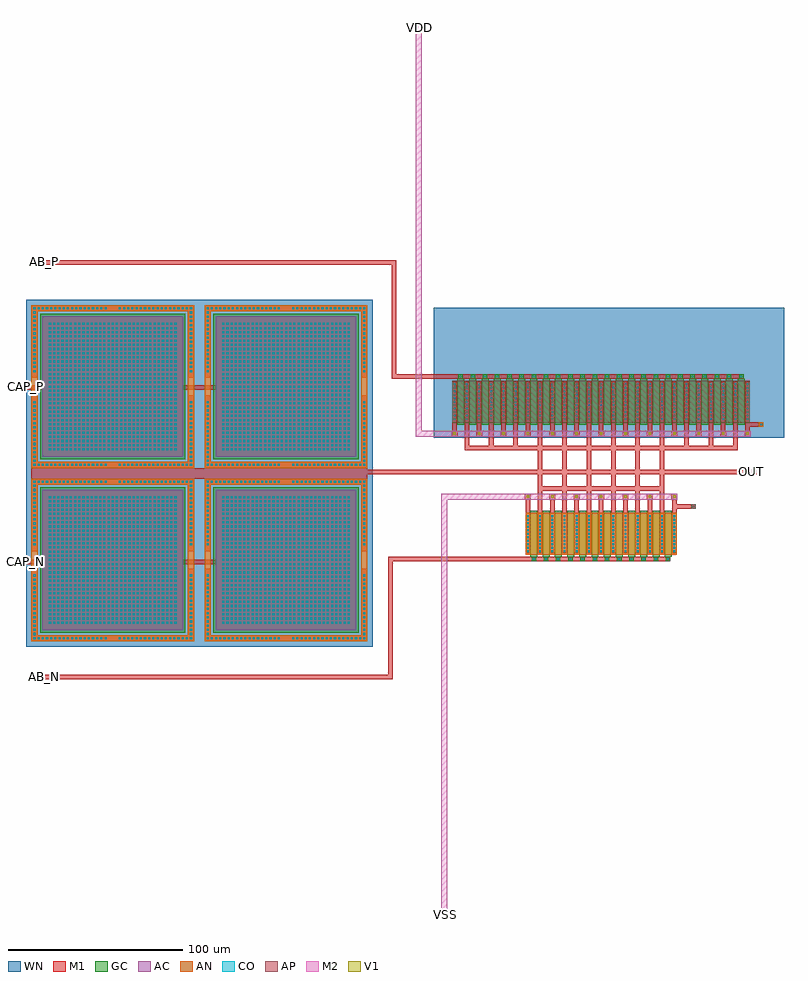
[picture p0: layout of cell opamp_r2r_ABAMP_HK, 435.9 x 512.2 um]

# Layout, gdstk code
from math import pi, radians
import gdstk
lib = gdstk.Library(unit=1e-6, precision=1e-07)
def R(c, l, rs):  # rectangles x0, y0, x1, y1
    for r in rs: c.add(gdstk.rectangle(r[:2], r[2:], *l))
def A(c, l, x, y, w, h, nx, ny, dx, dy):  # array of equal rectangles
    R(c, l, [(x+i*dx, y+j*dy, x+i*dx+w, y+j*dy+h) for i in range(nx) for j in range(ny)])
def P(c, l, *ps):  # polygons
    for p in ps: c.add(gdstk.Polygon(p, *l))
AP = (3, 1)
AN = (3, 2)
AC = (3, 4)
GC = (8, 1)
CO = (11, 0)
M1 = (13, 0)
V1 = (19, 0)
M2 = (20, 0)
WN = (140, 0)

via_1 = lib.new_cell('via_1')
R(via_1, M1, [(-1.7,-1.7,1.7,1.7)])
R(via_1, V1, [(-0.7,-0.7,0.7,0.7)])
R(via_1, M2, [(-1.7,-1.7,1.7,1.7)])

fet_p = lib.new_cell('fet_p')
R(fet_p, AP, [(-85.3,-12,85.3,12)])
A(fet_p, CO, -84.5, -10.5, 1, 1, 25, 11, 7, 2)
A(fet_p, M1, -85.3, -11.3, 2.6, 22.6, 25, 1, 7, 0)
fet_p.add(gdstk.FlexPath([(3.5,-13.2),(3.5,13.2)], 4, ends="flush", simple_path=True, layer=8, datatype=1))  # GC
fet_p.add(gdstk.FlexPath([(-3.5,-13.2),(-3.5,13.2)], 4, ends="flush", simple_path=True, layer=8, datatype=1))  # GC
fet_p.add(gdstk.FlexPath([(10.5,-13.2),(10.5,13.2)], 4, ends="flush", simple_path=True, layer=8, datatype=1))  # GC
fet_p.add(gdstk.FlexPath([(-10.5,-13.2),(-10.5,13.2)], 4, ends="flush", simple_path=True, layer=8, datatype=1))  # GC
fet_p.add(gdstk.FlexPath([(17.5,-13.2),(17.5,13.2)], 4, ends="flush", simple_path=True, layer=8, datatype=1))  # GC
fet_p.add(gdstk.FlexPath([(-17.5,-13.2),(-17.5,13.2)], 4, ends="flush", simple_path=True, layer=8, datatype=1))  # GC
fet_p.add(gdstk.FlexPath([(24.5,-13.2),(24.5,13.2)], 4, ends="flush", simple_path=True, layer=8, datatype=1))  # GC
fet_p.add(gdstk.FlexPath([(-24.5,-13.2),(-24.5,13.2)], 4, ends="flush", simple_path=True, layer=8, datatype=1))  # GC
fet_p.add(gdstk.FlexPath([(31.5,-13.2),(31.5,13.2)], 4, ends="flush", simple_path=True, layer=8, datatype=1))  # GC
fet_p.add(gdstk.FlexPath([(-31.5,-13.2),(-31.5,13.2)], 4, ends="flush", simple_path=True, layer=8, datatype=1))  # GC
fet_p.add(gdstk.FlexPath([(38.5,-13.2),(38.5,13.2)], 4, ends="flush", simple_path=True, layer=8, datatype=1))  # GC
fet_p.add(gdstk.FlexPath([(-38.5,-13.2),(-38.5,13.2)], 4, ends="flush", simple_path=True, layer=8, datatype=1))  # GC
fet_p.add(gdstk.FlexPath([(45.5,-13.2),(45.5,13.2)], 4, ends="flush", simple_path=True, layer=8, datatype=1))  # GC
fet_p.add(gdstk.FlexPath([(-45.5,-13.2),(-45.5,13.2)], 4, ends="flush", simple_path=True, layer=8, datatype=1))  # GC
fet_p.add(gdstk.FlexPath([(52.5,-13.2),(52.5,13.2)], 4, ends="flush", simple_path=True, layer=8, datatype=1))  # GC
fet_p.add(gdstk.FlexPath([(-52.5,-13.2),(-52.5,13.2)], 4, ends="flush", simple_path=True, layer=8, datatype=1))  # GC
fet_p.add(gdstk.FlexPath([(59.5,-13.2),(59.5,13.2)], 4, ends="flush", simple_path=True, layer=8, datatype=1))  # GC
fet_p.add(gdstk.FlexPath([(-59.5,-13.2),(-59.5,13.2)], 4, ends="flush", simple_path=True, layer=8, datatype=1))  # GC
fet_p.add(gdstk.FlexPath([(66.5,-13.2),(66.5,13.2)], 4, ends="flush", simple_path=True, layer=8, datatype=1))  # GC
fet_p.add(gdstk.FlexPath([(-66.5,-13.2),(-66.5,13.2)], 4, ends="flush", simple_path=True, layer=8, datatype=1))  # GC
fet_p.add(gdstk.FlexPath([(73.5,-13.2),(73.5,13.2)], 4, ends="flush", simple_path=True, layer=8, datatype=1))  # GC
fet_p.add(gdstk.FlexPath([(-73.5,-13.2),(-73.5,13.2)], 4, ends="flush", simple_path=True, layer=8, datatype=1))  # GC
fet_p.add(gdstk.FlexPath([(80.5,-13.2),(80.5,13.2)], 4, ends="flush", simple_path=True, layer=8, datatype=1))  # GC
fet_p.add(gdstk.FlexPath([(-80.5,-13.2),(-80.5,13.2)], 4, ends="flush", simple_path=True, layer=8, datatype=1))  # GC

fet_n = lib.new_cell('fet_n')
R(fet_n, AN, [(-43.3,-12,43.3,12)])
A(fet_n, CO, -42.5, -10.5, 1, 1, 13, 11, 7, 2)
A(fet_n, M1, -43.3, -11.3, 2.6, 22.6, 13, 1, 7, 0)
fet_n.add(gdstk.FlexPath([(3.5,-13.2),(3.5,13.2)], 4, ends="flush", simple_path=True, layer=8, datatype=1))  # GC
fet_n.add(gdstk.FlexPath([(-3.5,-13.2),(-3.5,13.2)], 4, ends="flush", simple_path=True, layer=8, datatype=1))  # GC
fet_n.add(gdstk.FlexPath([(10.5,-13.2),(10.5,13.2)], 4, ends="flush", simple_path=True, layer=8, datatype=1))  # GC
fet_n.add(gdstk.FlexPath([(-10.5,-13.2),(-10.5,13.2)], 4, ends="flush", simple_path=True, layer=8, datatype=1))  # GC
fet_n.add(gdstk.FlexPath([(17.5,-13.2),(17.5,13.2)], 4, ends="flush", simple_path=True, layer=8, datatype=1))  # GC
fet_n.add(gdstk.FlexPath([(-17.5,-13.2),(-17.5,13.2)], 4, ends="flush", simple_path=True, layer=8, datatype=1))  # GC
fet_n.add(gdstk.FlexPath([(24.5,-13.2),(24.5,13.2)], 4, ends="flush", simple_path=True, layer=8, datatype=1))  # GC
fet_n.add(gdstk.FlexPath([(-24.5,-13.2),(-24.5,13.2)], 4, ends="flush", simple_path=True, layer=8, datatype=1))  # GC
fet_n.add(gdstk.FlexPath([(31.5,-13.2),(31.5,13.2)], 4, ends="flush", simple_path=True, layer=8, datatype=1))  # GC
fet_n.add(gdstk.FlexPath([(-31.5,-13.2),(-31.5,13.2)], 4, ends="flush", simple_path=True, layer=8, datatype=1))  # GC
fet_n.add(gdstk.FlexPath([(38.5,-13.2),(38.5,13.2)], 4, ends="flush", simple_path=True, layer=8, datatype=1))  # GC
fet_n.add(gdstk.FlexPath([(-38.5,-13.2),(-38.5,13.2)], 4, ends="flush", simple_path=True, layer=8, datatype=1))  # GC

cont_g = lib.new_cell('cont_g')
R(cont_g, GC, [(-1.3,-1.3,1.3,1.3)])
R(cont_g, CO, [(-0.5,-0.5,0.5,0.5)])
R(cont_g, M1, [(-1.3,-1.3,1.3,1.3)])

moscap = lib.new_cell('moscap')
P(moscap, AN, [(-46.7,-46.7),(-46.7,43.1),(-43.1,43.1),(-43.1,-43.1),(43.1,-43.1),(43.1,43.1),(-46.7,43.1),(-46.7,46.7),(46.7,46.7),(46.7,-46.7)])
R(moscap, AC, [(-40.3,-40.3,40.3,40.3)])
R(moscap, GC, [(-41.7,-41.7,41.7,41.7)])
A(moscap, CO, -45.5, -45.5, 1.2, 1.2, 1, 18, 0, 2.4)
A(moscap, CO, -45.5, -45.5, 1.2, 1.2, 16, 2, 2.4, 89.8)
A(moscap, CO, 8.3, -45.5, 1.2, 1.2, 16, 2, 2.4, 89.8)
A(moscap, CO, 44.3, -45.5, 1.2, 1.2, 1, 18, 0, 2.4)
A(moscap, CO, -36.6, -36.6, 1.2, 1.2, 31, 31, 2.4, 2.4)
A(moscap, CO, -45.5, 3.5, 1.2, 1.2, 1, 18, 0, 2.4)
A(moscap, CO, 44.3, 3.5, 1.2, 1.2, 1, 18, 0, 2.4)
R(moscap, M1, [(-40.3,-40.3,40.3,40.3)])
P(moscap, M1, [(-46.7,-46.7),(-46.7,46.7),(-5,46.7),(-5,43.1),(-43.1,43.1),(-43.1,-43.1),(-5,-43.1),(-5,-46.7)],
  [(5,-46.7),(5,-43.1),(43.1,-43.1),(43.1,43.1),(5,43.1),(5,46.7),(46.7,46.7),(46.7,-46.7)])
R(moscap, WN, [(-49.7,-49.7,49.7,49.7)])

cont_n = lib.new_cell('cont_n')
R(cont_n, AN, [(-1.3,-1.3,1.3,1.3)])
R(cont_n, CO, [(-0.5,-0.5,0.5,0.5)])
R(cont_n, M1, [(-1.3,-1.3,1.3,1.3)])

cont_p = lib.new_cell('cont_p')
R(cont_p, AP, [(-1.3,-1.3,1.3,1.3)])
R(cont_p, CO, [(-0.5,-0.5,0.5,0.5)])
R(cont_p, M1, [(-1.3,-1.3,1.3,1.3)])

opamp_r2r_abamp_hk = lib.new_cell('opamp_r2r_ABAMP_HK')
R(opamp_r2r_abamp_hk, M1, [(-329.9,-35.6,-137.1,-29.6)])
R(opamp_r2r_abamp_hk, WN, [(-99.2,-12.2,101.8,62.4)])
opamp_r2r_abamp_hk.add(gdstk.FlexPath([(-87.1,-2.8),(-87.1,-8.2)], 2.6, ends="flush", simple_path=True, layer=13, datatype=0))  # M1
opamp_r2r_abamp_hk.add(gdstk.FlexPath([(-38.1,-2.8),(-38.1,-56)], 2.6, ends="flush", simple_path=True, layer=13, datatype=0))  # M1
opamp_r2r_abamp_hk.add(gdstk.FlexPath([(-73.1,-2.8),(-73.1,-8.2)], 2.6, ends="flush", simple_path=True, layer=13, datatype=0))  # M1
opamp_r2r_abamp_hk.add(gdstk.FlexPath([(-24.1,-2.8),(-24.1,-56)], 2.6, ends="flush", simple_path=True, layer=13, datatype=0))  # M1
opamp_r2r_abamp_hk.add(gdstk.FlexPath([(-59.1,-2.8),(-59.1,-8.2)], 2.6, ends="flush", simple_path=True, layer=13, datatype=0))  # M1
opamp_r2r_abamp_hk.add(gdstk.FlexPath([(-10.1,-2.8),(-10.1,-56)], 2.6, ends="flush", simple_path=True, layer=13, datatype=0))  # M1
opamp_r2r_abamp_hk.add(gdstk.FlexPath([(-45.1,-2.8),(-45.1,-8.2)], 2.6, ends="flush", simple_path=True, layer=13, datatype=0))  # M1
opamp_r2r_abamp_hk.add(gdstk.FlexPath([(3.9,-2.8),(3.9,-56)], 2.6, ends="flush", simple_path=True, layer=13, datatype=0))  # M1
opamp_r2r_abamp_hk.add(gdstk.FlexPath([(-31.1,-2.8),(-31.1,-8.2)], 2.6, ends="flush", simple_path=True, layer=13, datatype=0))  # M1
opamp_r2r_abamp_hk.add(gdstk.FlexPath([(17.9,-2.8),(17.9,-56)], 2.6, ends="flush", simple_path=True, layer=13, datatype=0))  # M1
opamp_r2r_abamp_hk.add(gdstk.FlexPath([(-17.1,-2.8),(-17.1,-8.2)], 2.6, ends="flush", simple_path=True, layer=13, datatype=0))  # M1
opamp_r2r_abamp_hk.add(gdstk.FlexPath([(31.9,-2.8),(31.9,-56)], 2.6, ends="flush", simple_path=True, layer=13, datatype=0))  # M1
opamp_r2r_abamp_hk.add(gdstk.FlexPath([(-3.1,-2.8),(-3.1,-8.2)], 2.6, ends="flush", simple_path=True, layer=13, datatype=0))  # M1
opamp_r2r_abamp_hk.add(gdstk.FlexPath([(-80.1,-2.8),(-80.1,-19.3)], 2.6, ends="flush", simple_path=True, layer=13, datatype=0))  # M1
opamp_r2r_abamp_hk.add(gdstk.FlexPath([(10.9,-2.8),(10.9,-8.2)], 2.6, ends="flush", simple_path=True, layer=13, datatype=0))  # M1
opamp_r2r_abamp_hk.add(gdstk.FlexPath([(59.9,-2.8),(59.9,-19.4)], 2.6, ends="flush", simple_path=True, layer=13, datatype=0))  # M1
opamp_r2r_abamp_hk.add(gdstk.FlexPath([(24.9,-2.8),(24.9,-8.2)], 2.6, ends="flush", simple_path=True, layer=13, datatype=0))  # M1
opamp_r2r_abamp_hk.add(gdstk.FlexPath([(73.9,-2.8),(73.9,-19.3)], 2.6, ends="flush", simple_path=True, layer=13, datatype=0))  # M1
opamp_r2r_abamp_hk.add(gdstk.FlexPath([(38.9,-2.8),(38.9,-8.2)], 2.6, ends="flush", simple_path=True, layer=13, datatype=0))  # M1
opamp_r2r_abamp_hk.add(gdstk.FlexPath([(45.9,-2.8),(45.9,-19.4)], 2.6, ends="flush", simple_path=True, layer=13, datatype=0))  # M1
opamp_r2r_abamp_hk.add(gdstk.FlexPath([(52.9,-2.8),(52.9,-8.2)], 2.6, ends="flush", simple_path=True, layer=13, datatype=0))  # M1
opamp_r2r_abamp_hk.add(gdstk.FlexPath([(-66.1,-2.8),(-66.1,-19.3)], 2.6, ends="flush", simple_path=True, layer=13, datatype=0))  # M1
opamp_r2r_abamp_hk.add(gdstk.FlexPath([(66.9,-2.8),(66.9,-8.2)], 2.6, ends="flush", simple_path=True, layer=13, datatype=0))  # M1
opamp_r2r_abamp_hk.add(gdstk.FlexPath([(-52.1,-2.8),(-52.1,-19.3)], 2.6, ends="flush", simple_path=True, layer=13, datatype=0))  # M1
opamp_r2r_abamp_hk.add(gdstk.FlexPath([(80.9,-2.8),(80.9,-8.2)], 2.6, ends="flush", simple_path=True, layer=13, datatype=0))  # M1
opamp_r2r_abamp_hk.add(gdstk.FlexPath([(-81.4,-18.1),(75.2,-18.1)], 2.6, ends="flush", simple_path=True, layer=13, datatype=0))  # M1
opamp_r2r_abamp_hk.add(gdstk.FlexPath([(-45.1,-56),(-45.1,-47.7)], 2.6, ends="flush", simple_path=True, layer=13, datatype=0))  # M1
opamp_r2r_abamp_hk.add(gdstk.FlexPath([(-31.1,-56),(-31.1,-47.7)], 2.6, ends="flush", simple_path=True, layer=13, datatype=0))  # M1
opamp_r2r_abamp_hk.add(gdstk.FlexPath([(-17.1,-56),(-17.1,-47.7)], 2.6, ends="flush", simple_path=True, layer=13, datatype=0))  # M1
opamp_r2r_abamp_hk.add(gdstk.FlexPath([(-3.1,-56),(-3.1,-47.7)], 2.6, ends="flush", simple_path=True, layer=13, datatype=0))  # M1
opamp_r2r_abamp_hk.add(gdstk.FlexPath([(10.9,-56),(10.9,-47.7)], 2.6, ends="flush", simple_path=True, layer=13, datatype=0))  # M1
opamp_r2r_abamp_hk.add(gdstk.FlexPath([(24.9,-56),(24.9,-47.7)], 2.6, ends="flush", simple_path=True, layer=13, datatype=0))  # M1
opamp_r2r_abamp_hk.add(gdstk.FlexPath([(38.9,-56),(38.9,-47.7)], 2.6, ends="flush", simple_path=True, layer=13, datatype=0))  # M1
opamp_r2r_abamp_hk.add(gdstk.FlexPath([(-39.3,-41.2),(33.2,-41.2)], 2.6, ends="flush", simple_path=True, layer=13, datatype=0))  # M1
opamp_r2r_abamp_hk.add(gdstk.FlexPath([(87.9,-31.8),(-145,-31.8)], 2.6, ends="flush", simple_path=True, layer=13, datatype=0))  # M1
opamp_r2r_abamp_hk.add(gdstk.FlexPath([(82.2,-4.6),(90,-4.6)], 2.6, ends="flush", simple_path=True, layer=13, datatype=0))  # M1
opamp_r2r_abamp_hk.add(gdstk.FlexPath([(36.6,-81.8),(-123.8,-81.8),(-123.8,-149.4),(-323.3,-149.4)], 2.6, ends="flush", simple_path=True, layer=13, datatype=0))  # M1
opamp_r2r_abamp_hk.add(gdstk.FlexPath([(78.7,23),(-121.9,23),(-121.9,88.3),(-322.5,88.3)], 2.6, ends="flush", simple_path=True, layer=13, datatype=0))  # M1
opamp_r2r_abamp_hk.add(gdstk.FlexPath([(40.2,-51.7),(51.1,-51.7)], 2.6, ends="flush", simple_path=True, layer=13, datatype=0))  # M1
opamp_r2r_abamp_hk.add(gdstk.FlexPath([(-333.6,16.7),(-143.5,16.7)], 2.6, ends="flush", simple_path=True, layer=13, datatype=0))  # M1
opamp_r2r_abamp_hk.add(gdstk.FlexPath([(-334.1,-83.5),(-143.7,-83.5)], 2.6, ends="flush", simple_path=True, layer=13, datatype=0))  # M1
opamp_r2r_abamp_hk.add(gdstk.FlexPath([(82.6,-9.9),(-107.7,-9.9),(-107.7,225.1)], 3.4, ends="flush", simple_path=True, layer=20, datatype=0))  # M2
opamp_r2r_abamp_hk.add(gdstk.FlexPath([(40.6,-46),(-93.1,-46),(-93.1,-287.1)], 3.4, ends="flush", simple_path=True, layer=20, datatype=0))  # M2
opamp_r2r_abamp_hk.add(gdstk.Reference(via_1, (-87.1,-9.9)))
opamp_r2r_abamp_hk.add(gdstk.Reference(fet_p, (-3.1,8.5)))
opamp_r2r_abamp_hk.add(gdstk.Reference(fet_n, (-3.1,-67.3)))
opamp_r2r_abamp_hk.add(gdstk.Reference(via_1, (-73.1,-9.9)))
opamp_r2r_abamp_hk.add(gdstk.Reference(cont_g, (-41.7,-81.7)))
opamp_r2r_abamp_hk.add(gdstk.Reference(via_1, (-59.1,-9.9)))
opamp_r2r_abamp_hk.add(gdstk.Reference(cont_g, (-34.7,-81.7)))
opamp_r2r_abamp_hk.add(gdstk.Reference(via_1, (-45.1,-9.9)))
opamp_r2r_abamp_hk.add(gdstk.Reference(cont_g, (-27.7,-81.7)))
opamp_r2r_abamp_hk.add(gdstk.Reference(via_1, (-31.1,-9.9)))
opamp_r2r_abamp_hk.add(gdstk.Reference(cont_g, (-20.7,-81.7)))
opamp_r2r_abamp_hk.add(gdstk.Reference(via_1, (-17.1,-9.9)))
opamp_r2r_abamp_hk.add(gdstk.Reference(cont_g, (-13.7,-81.7)))
opamp_r2r_abamp_hk.add(gdstk.Reference(via_1, (-3.1,-9.9)))
opamp_r2r_abamp_hk.add(gdstk.Reference(cont_g, (-6.7,-81.7)))
opamp_r2r_abamp_hk.add(gdstk.Reference(via_1, (10.9,-9.9)))
opamp_r2r_abamp_hk.add(gdstk.Reference(cont_g, (0.3,-81.7)))
opamp_r2r_abamp_hk.add(gdstk.Reference(via_1, (24.9,-9.9)))
opamp_r2r_abamp_hk.add(gdstk.Reference(cont_g, (7.3,-81.7)))
opamp_r2r_abamp_hk.add(gdstk.Reference(via_1, (38.9,-9.9)))
opamp_r2r_abamp_hk.add(gdstk.Reference(cont_g, (14.3,-81.7)))
opamp_r2r_abamp_hk.add(gdstk.Reference(via_1, (52.9,-9.9)))
opamp_r2r_abamp_hk.add(gdstk.Reference(cont_g, (21.3,-81.7)))
opamp_r2r_abamp_hk.add(gdstk.Reference(via_1, (66.9,-9.9)))
opamp_r2r_abamp_hk.add(gdstk.Reference(cont_g, (28.3,-81.7)))
opamp_r2r_abamp_hk.add(gdstk.Reference(via_1, (80.9,-9.9)))
opamp_r2r_abamp_hk.add(gdstk.Reference(cont_g, (-83.7,22.9)))
opamp_r2r_abamp_hk.add(gdstk.Reference(cont_g, (-76.7,22.9)))
opamp_r2r_abamp_hk.add(gdstk.Reference(cont_g, (-69.7,22.9)))
opamp_r2r_abamp_hk.add(gdstk.Reference(cont_g, (-62.7,22.9)))
opamp_r2r_abamp_hk.add(gdstk.Reference(cont_g, (-55.7,22.9)))
opamp_r2r_abamp_hk.add(gdstk.Reference(cont_g, (-48.7,22.9)))
opamp_r2r_abamp_hk.add(gdstk.Reference(cont_g, (-41.7,22.9)))
opamp_r2r_abamp_hk.add(gdstk.Reference(cont_g, (-34.7,22.9)))
opamp_r2r_abamp_hk.add(gdstk.Reference(cont_g, (-27.7,22.9)))
opamp_r2r_abamp_hk.add(gdstk.Reference(cont_g, (-20.7,22.9)))
opamp_r2r_abamp_hk.add(gdstk.Reference(cont_g, (-13.7,22.9)))
opamp_r2r_abamp_hk.add(gdstk.Reference(cont_g, (-6.7,22.9)))
opamp_r2r_abamp_hk.add(gdstk.Reference(cont_g, (0.3,22.9)))
opamp_r2r_abamp_hk.add(gdstk.Reference(cont_g, (7.3,22.9)))
opamp_r2r_abamp_hk.add(gdstk.Reference(cont_g, (14.3,22.9)))
opamp_r2r_abamp_hk.add(gdstk.Reference(cont_g, (21.3,22.9)))
opamp_r2r_abamp_hk.add(gdstk.Reference(cont_g, (28.3,22.9)))
opamp_r2r_abamp_hk.add(gdstk.Reference(cont_g, (35.3,22.9)))
opamp_r2r_abamp_hk.add(gdstk.Reference(cont_g, (42.3,22.9)))
opamp_r2r_abamp_hk.add(gdstk.Reference(cont_g, (49.3,22.9)))
opamp_r2r_abamp_hk.add(gdstk.Reference(cont_g, (56.3,22.9)))
opamp_r2r_abamp_hk.add(gdstk.Reference(cont_g, (63.3,22.9)))
opamp_r2r_abamp_hk.add(gdstk.Reference(cont_g, (70.3,22.9)))
opamp_r2r_abamp_hk.add(gdstk.Reference(cont_g, (77.3,22.9)))
opamp_r2r_abamp_hk.add(gdstk.Reference(cont_g, (35.3,-81.7)))
opamp_r2r_abamp_hk.add(gdstk.Reference(via_1, (-45.1,-46)))
opamp_r2r_abamp_hk.add(gdstk.Reference(via_1, (-31.1,-46)))
opamp_r2r_abamp_hk.add(gdstk.Reference(via_1, (-17.1,-46)))
opamp_r2r_abamp_hk.add(gdstk.Reference(via_1, (-3.1,-46)))
opamp_r2r_abamp_hk.add(gdstk.Reference(via_1, (10.9,-46)))
opamp_r2r_abamp_hk.add(gdstk.Reference(via_1, (24.9,-46)))
opamp_r2r_abamp_hk.add(gdstk.Reference(via_1, (38.9,-46)))
opamp_r2r_abamp_hk.add(gdstk.Reference(moscap, (-183.8,17.1), rotation=pi/2))
opamp_r2r_abamp_hk.add(gdstk.Reference(moscap, (-183.8,-82.3), rotation=pi/2))
opamp_r2r_abamp_hk.add(gdstk.Reference(moscap, (-283.2,17.1), rotation=pi/2))
opamp_r2r_abamp_hk.add(gdstk.Reference(moscap, (-283.2,-82.3), rotation=pi/2))
opamp_r2r_abamp_hk.add(gdstk.Reference(cont_n, (88.7,-4.6)))
opamp_r2r_abamp_hk.add(gdstk.Reference(cont_p, (49.8,-51.7)))
opamp_r2r_abamp_hk.add(gdstk.Label('VDD', (-107.1,223), layer=49, texttype=0))
opamp_r2r_abamp_hk.add(gdstk.Label('VSS', (-92.1,-285.8), layer=49, texttype=0))
opamp_r2r_abamp_hk.add(gdstk.Label('AB_P', (-322.5,89), layer=48, texttype=0))
opamp_r2r_abamp_hk.add(gdstk.Label('AB_N', (-322.4,-149.3), layer=48, texttype=0))
opamp_r2r_abamp_hk.add(gdstk.Label('CAP_N', (-333.5,-83.4), layer=48, texttype=0))
opamp_r2r_abamp_hk.add(gdstk.Label('CAP_P', (-333.4,16.9), layer=48, texttype=0))
opamp_r2r_abamp_hk.add(gdstk.Label('OUT', (83.2,-31.5), layer=48, texttype=0))

lib.write_gds('opamp_r2r_ABAMP_HK.gds')
